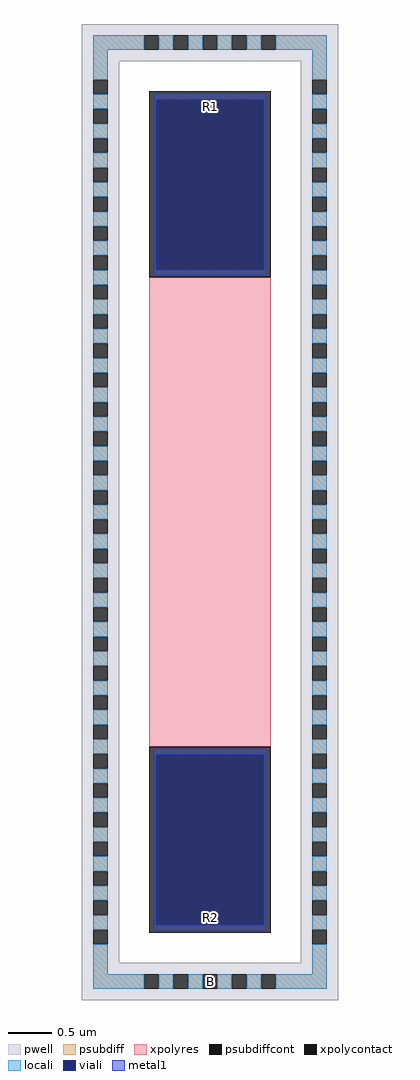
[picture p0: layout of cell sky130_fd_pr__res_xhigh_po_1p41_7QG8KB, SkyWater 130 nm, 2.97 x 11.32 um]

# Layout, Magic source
magic
tech sky130A
magscale 1 2
<< pwell >>
rect -297 1046 297 1132
rect -297 -1046 -211 1046
rect 211 -1046 297 1046
rect -297 -1132 297 -1046
<< psubdiff >>
rect -271 1072 -153 1106
rect -119 1072 -85 1106
rect -51 1072 -17 1106
rect 17 1072 51 1106
rect 85 1072 119 1106
rect 153 1072 271 1106
rect -271 1003 -237 1072
rect 237 1003 271 1072
rect -271 935 -237 969
rect -271 867 -237 901
rect -271 799 -237 833
rect -271 731 -237 765
rect -271 663 -237 697
rect -271 595 -237 629
rect -271 527 -237 561
rect -271 459 -237 493
rect -271 391 -237 425
rect -271 323 -237 357
rect -271 255 -237 289
rect -271 187 -237 221
rect -271 119 -237 153
rect -271 51 -237 85
rect -271 -17 -237 17
rect -271 -85 -237 -51
rect -271 -153 -237 -119
rect -271 -221 -237 -187
rect -271 -289 -237 -255
rect -271 -357 -237 -323
rect -271 -425 -237 -391
rect -271 -493 -237 -459
rect -271 -561 -237 -527
rect -271 -629 -237 -595
rect -271 -697 -237 -663
rect -271 -765 -237 -731
rect -271 -833 -237 -799
rect -271 -901 -237 -867
rect -271 -969 -237 -935
rect 237 935 271 969
rect 237 867 271 901
rect 237 799 271 833
rect 237 731 271 765
rect 237 663 271 697
rect 237 595 271 629
rect 237 527 271 561
rect 237 459 271 493
rect 237 391 271 425
rect 237 323 271 357
rect 237 255 271 289
rect 237 187 271 221
rect 237 119 271 153
rect 237 51 271 85
rect 237 -17 271 17
rect 237 -85 271 -51
rect 237 -153 271 -119
rect 237 -221 271 -187
rect 237 -289 271 -255
rect 237 -357 271 -323
rect 237 -425 271 -391
rect 237 -493 271 -459
rect 237 -561 271 -527
rect 237 -629 271 -595
rect 237 -697 271 -663
rect 237 -765 271 -731
rect 237 -833 271 -799
rect 237 -901 271 -867
rect 237 -969 271 -935
rect -271 -1072 -237 -1003
rect 237 -1072 271 -1003
rect -271 -1106 -153 -1072
rect -119 -1106 -85 -1072
rect -51 -1106 -17 -1072
rect 17 -1106 51 -1072
rect 85 -1106 119 -1072
rect 153 -1106 271 -1072
<< psubdiffcont >>
rect -153 1072 -119 1106
rect -85 1072 -51 1106
rect -17 1072 17 1106
rect 51 1072 85 1106
rect 119 1072 153 1106
rect -271 969 -237 1003
rect -271 901 -237 935
rect -271 833 -237 867
rect -271 765 -237 799
rect -271 697 -237 731
rect -271 629 -237 663
rect -271 561 -237 595
rect -271 493 -237 527
rect -271 425 -237 459
rect -271 357 -237 391
rect -271 289 -237 323
rect -271 221 -237 255
rect -271 153 -237 187
rect -271 85 -237 119
rect -271 17 -237 51
rect -271 -51 -237 -17
rect -271 -119 -237 -85
rect -271 -187 -237 -153
rect -271 -255 -237 -221
rect -271 -323 -237 -289
rect -271 -391 -237 -357
rect -271 -459 -237 -425
rect -271 -527 -237 -493
rect -271 -595 -237 -561
rect -271 -663 -237 -629
rect -271 -731 -237 -697
rect -271 -799 -237 -765
rect -271 -867 -237 -833
rect -271 -935 -237 -901
rect -271 -1003 -237 -969
rect 237 969 271 1003
rect 237 901 271 935
rect 237 833 271 867
rect 237 765 271 799
rect 237 697 271 731
rect 237 629 271 663
rect 237 561 271 595
rect 237 493 271 527
rect 237 425 271 459
rect 237 357 271 391
rect 237 289 271 323
rect 237 221 271 255
rect 237 153 271 187
rect 237 85 271 119
rect 237 17 271 51
rect 237 -51 271 -17
rect 237 -119 271 -85
rect 237 -187 271 -153
rect 237 -255 271 -221
rect 237 -323 271 -289
rect 237 -391 271 -357
rect 237 -459 271 -425
rect 237 -527 271 -493
rect 237 -595 271 -561
rect 237 -663 271 -629
rect 237 -731 271 -697
rect 237 -799 271 -765
rect 237 -867 271 -833
rect 237 -935 271 -901
rect 237 -1003 271 -969
rect -153 -1106 -119 -1072
rect -85 -1106 -51 -1072
rect -17 -1106 17 -1072
rect 51 -1106 85 -1072
rect 119 -1106 153 -1072
<< xpolycontact >>
rect -141 544 141 976
rect -141 -976 141 -544
<< xpolyres >>
rect -141 -544 141 544
<< locali >>
rect -271 1072 -153 1106
rect -119 1072 -85 1106
rect -51 1072 -17 1106
rect 17 1072 51 1106
rect 85 1072 119 1106
rect 153 1072 271 1106
rect -271 1003 -237 1072
rect 237 1003 271 1072
rect -271 935 -237 969
rect -271 867 -237 901
rect -271 799 -237 833
rect -271 731 -237 765
rect -271 663 -237 697
rect -271 595 -237 629
rect -271 527 -237 561
rect 237 935 271 969
rect 237 867 271 901
rect 237 799 271 833
rect 237 731 271 765
rect 237 663 271 697
rect 237 595 271 629
rect -271 459 -237 493
rect -271 391 -237 425
rect -271 323 -237 357
rect -271 255 -237 289
rect -271 187 -237 221
rect -271 119 -237 153
rect -271 51 -237 85
rect -271 -17 -237 17
rect -271 -85 -237 -51
rect -271 -153 -237 -119
rect -271 -221 -237 -187
rect -271 -289 -237 -255
rect -271 -357 -237 -323
rect -271 -425 -237 -391
rect -271 -493 -237 -459
rect -271 -561 -237 -527
rect 237 527 271 561
rect 237 459 271 493
rect 237 391 271 425
rect 237 323 271 357
rect 237 255 271 289
rect 237 187 271 221
rect 237 119 271 153
rect 237 51 271 85
rect 237 -17 271 17
rect 237 -85 271 -51
rect 237 -153 271 -119
rect 237 -221 271 -187
rect 237 -289 271 -255
rect 237 -357 271 -323
rect 237 -425 271 -391
rect 237 -493 271 -459
rect -271 -629 -237 -595
rect -271 -697 -237 -663
rect -271 -765 -237 -731
rect -271 -833 -237 -799
rect -271 -901 -237 -867
rect -271 -969 -237 -935
rect 237 -561 271 -527
rect 237 -629 271 -595
rect 237 -697 271 -663
rect 237 -765 271 -731
rect 237 -833 271 -799
rect 237 -901 271 -867
rect 237 -969 271 -935
rect -271 -1072 -237 -1003
rect 237 -1072 271 -1003
rect -271 -1106 -153 -1072
rect -119 -1106 -85 -1072
rect -51 -1106 -17 -1072
rect 17 -1106 51 -1072
rect 85 -1106 119 -1072
rect 153 -1106 271 -1072
<< viali >>
rect -125 562 125 956
rect -125 -957 125 -563
<< metal1 >>
rect -131 956 131 970
rect -131 562 -125 956
rect 125 562 131 956
rect -131 549 131 562
rect -131 -563 131 -549
rect -131 -957 -125 -563
rect 125 -957 131 -563
rect -131 -970 131 -957
<< labels >>
rlabel locali s 0 -1089 0 -1089 4 B
rlabel locali s 0 941 0 941 4 R1
rlabel locali s 0 -941 0 -941 4 R2
<< properties >>
string FIXED_BBOX -254 -1089 254 1089
<< end >>
